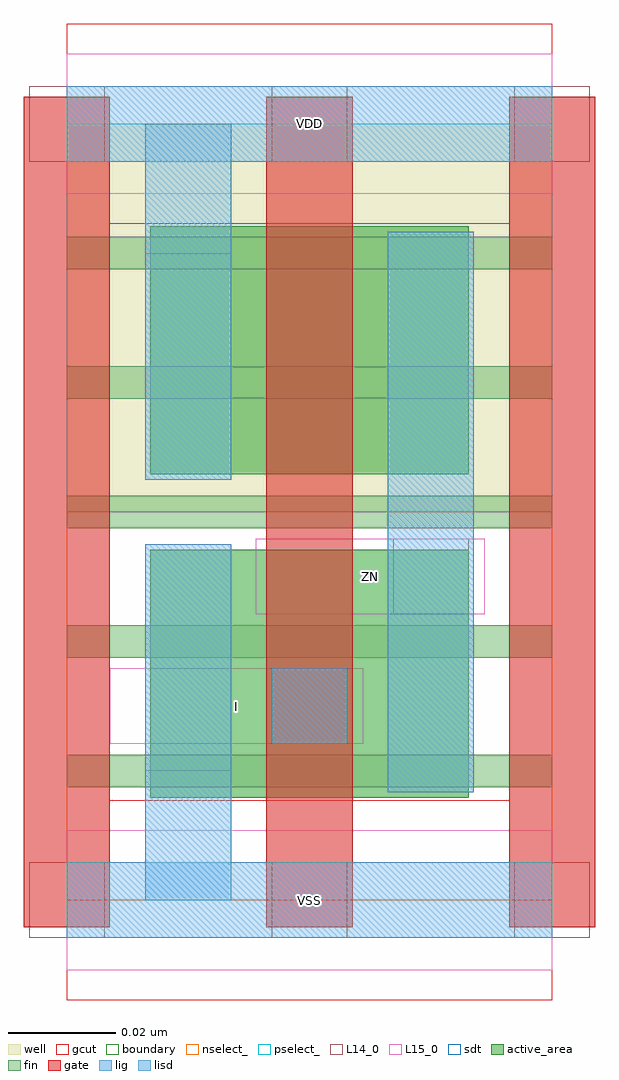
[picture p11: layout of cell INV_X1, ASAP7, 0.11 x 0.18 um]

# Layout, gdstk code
import gdstk
lib = gdstk.Library(unit=1e-6, precision=2.5e-10)
def R(c, l, rs):  # rectangles x0, y0, x1, y1
    for r in rs: c.add(gdstk.rectangle(r[:2], r[2:], *l))
def A(c, l, x, y, w, h, nx, ny, dx, dy):  # array of equal rectangles
    R(c, l, [(x+i*dx, y+j*dy, x+i*dx+w, y+j*dy+h) for i in range(nx) for j in range(ny)])
well = (1, 0)
fin = (2, 0)
gate = (7, 0)
gcut = (10, 0)
active_area = (11, 0)
nselect_ = (12, 0)
pselect_ = (13, 0)
L14_0 = (14, 0)
L15_0 = (15, 0)
lig = (16, 0)
lisd = (17, 0)
sdt = (88, 0)
boundary = (100, 0)

inv_x1 = lib.new_cell('INV_X1')
R(inv_x1, well, [(0,0.072,0.09,0.144)])
A(inv_x1, fin, 0, 0.021, 0.09, 0.006, 1, 5, 0, 0.024)
A(inv_x1, gate, -0.008, -0.005, 0.016, 0.154, 3, 1, 0.045, 0)
R(inv_x1, gcut, [(0,-0.0185,0.09,0.0185), (-0.008,-0.005,0.008,0.149), (0.082,-0.005,0.098,0.149), (0,0.1255,0.09,0.1625)])
R(inv_x1, active_area, [(0.0155,0.019,0.0745,0.065), (0.0155,0.079,0.0745,0.125)])
R(inv_x1, nselect_, [(0,0,0.09,0.072)])
R(inv_x1, pselect_, [(0,0.072,0.09,0.144)])
A(inv_x1, L14_0, -0.007, -0.007, 0.014, 0.014, 3, 2, 0.045, 0.144)
R(inv_x1, L14_0, [(0.038,0.029,0.052,0.043), (0.0605,0.053,0.0745,0.067)])
R(inv_x1, L15_0, [(0,-0.013,0.09,0.013), (0.008,0.029,0.055,0.043), (0.035,0.053,0.0775,0.067), (0,0.131,0.09,0.157)])
R(inv_x1, lig, [(0,-0.007,0.09,0.007), (0.038,0.029,0.052,0.043), (0,0.137,0.09,0.151)])
R(inv_x1, lisd, [(0.0145,0,0.0305,0.066), (0.0595,0.02,0.0755,0.124), (0.0145,0.078,0.0305,0.144)])
R(inv_x1, sdt, [(0.0595,0.02,0.0755,0.124), (0.0145,0.024,0.0305,0.066), (0.0145,0.078,0.0305,0.12)])
R(inv_x1, boundary, [(0,0,0.09,0.144)])
inv_x1.add(gdstk.Label('VDD', (0.045,0.144), layer=1, texttype=251))
inv_x1.add(gdstk.Label('VSS', (0.045,0), layer=3, texttype=251))
inv_x1.add(gdstk.Label('I', (0.0315,0.036), layer=15, texttype=251))
inv_x1.add(gdstk.Label('ZN', (0.0563,0.06), layer=15, texttype=251))
inv_x1.add(gdstk.Label('VSS', (0.045,0), layer=15, texttype=251))
inv_x1.add(gdstk.Label('VDD', (0.045,0.144), layer=15, texttype=251))

lib.write_gds('INV_X1.gds')
